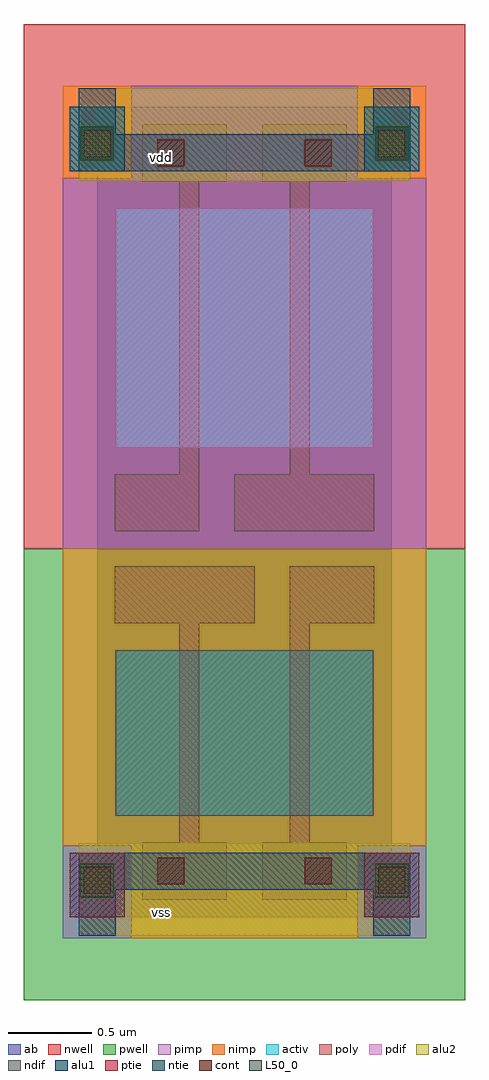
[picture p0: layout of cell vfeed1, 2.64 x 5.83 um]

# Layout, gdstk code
import gdstk
lib = gdstk.Library(unit=1e-6, precision=2.5e-09)
def R(c, l, rs):  # rectangles x0, y0, x1, y1
    for r in rs: c.add(gdstk.rectangle(r[:2], r[2:], *l))
ndif = (3, 0)
pdif = (4, 0)
ntie = (5, 0)
ptie = (6, 0)
cont = (25, 0)
pwell = (41, 0)
nwell = (42, 0)
activ = (43, 0)
pimp = (44, 0)
nimp = (45, 0)
poly = (46, 0)
alu1 = (49, 0)
L50_0 = (50, 0)
alu2 = (51, 0)
ab = (63, 0)

vfeed1 = lib.new_cell('vfeed1')
R(vfeed1, ndif, [(0.11,0.605,1.65,1.595)])
R(vfeed1, pdif, [(0.11,2.805,1.65,4.235)])
R(vfeed1, ntie, [(-0.165,4.455,0.165,4.84), (1.595,4.455,1.925,4.84)])
R(vfeed1, ptie, [(-0.165,0,0.165,0.385), (1.595,0,1.925,0.385)])
R(vfeed1, cont, [(-0.08,0.14,0.08,0.3), (1.68,0.14,1.84,0.3), (0.36,0.195,0.52,0.355), (1.24,0.195,1.4,0.355), (0.36,4.485,0.52,4.645), (1.24,4.485,1.4,4.645), (-0.08,4.54,0.08,4.7), (1.68,4.54,1.84,4.7)])
R(vfeed1, pwell, [(-0.44,-0.495,2.2,2.2)])
R(vfeed1, nwell, [(-0.44,2.2,2.2,5.335)])
R(vfeed1, activ, [(-0.165,0,0.165,0.385), (1.595,0,1.925,0.385), (0.11,0.605,1.65,1.595), (0.11,2.805,1.65,4.235), (-0.165,4.455,0.165,4.84), (1.595,4.455,1.925,4.84)])
R(vfeed1, pimp, [(-0.205,-0.125,0.205,0.425), (1.555,-0.125,1.965,0.425), (-0.205,2.2,1.965,4.415), (0.205,4.415,1.555,4.965)])
R(vfeed1, nimp, [(0.205,-0.125,1.555,0.425), (-0.205,0.425,1.965,2.2), (-0.205,4.415,0.205,4.965), (1.555,4.415,1.965,4.965)])
R(vfeed1, poly, [(0.27,0.105,0.775,0.445), (0.985,0.105,1.49,0.445), (0.49,0.445,0.61,1.755), (1.15,0.445,1.27,1.755), (0.105,1.755,0.94,2.095), (1.15,1.755,1.655,2.095), (0.105,2.305,0.61,2.645), (0.82,2.305,1.655,2.645), (0.49,2.645,0.61,4.395), (1.15,2.645,1.27,4.395), (0.27,4.395,0.775,4.735), (0.985,4.395,1.49,4.735)])
R(vfeed1, alu1, [(-0.11,-0.11,0.11,0.165), (1.65,-0.11,1.87,0.165), (-0.11,0.165,1.87,0.385), (-0.11,4.455,1.87,4.675), (-0.11,4.675,0.11,4.95), (1.65,4.675,1.87,4.95)])
R(vfeed1, L50_0, [(-0.1,0.12,0.1,0.32), (1.66,0.12,1.86,0.32), (-0.1,4.52,0.1,4.72), (1.66,4.52,1.86,4.72)])
R(vfeed1, alu2, [(-0.11,-0.11,1.87,0.44), (-0.11,4.4,1.87,4.95)])
R(vfeed1, ab, [(0,0,1.76,4.84)])
vfeed1.add(gdstk.Label('vss', (0.385,0.0275), layer=51, texttype=0))
vfeed1.add(gdstk.Label('vdd', (0.385,4.5375), layer=51, texttype=0))

lib.write_gds('vfeed1.gds')
